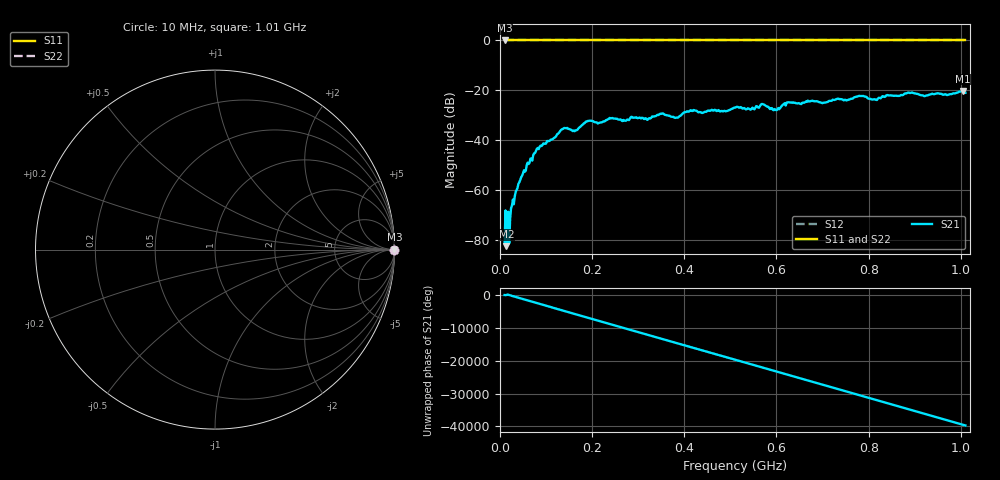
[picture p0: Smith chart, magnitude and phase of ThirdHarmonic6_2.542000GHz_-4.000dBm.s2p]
! 8/17/2025 5:08:17 AM
! C:\ANRITSUVNA\TEMP\TEMP.S2P
! CHANNEL.1
! TR.MEASUREMENT
! RAW.DATA
! RF.CORRECTION.OFF
! AVERAGING.OFF
! IF.BANDWIDTH: 5KHZ
! SWEEPTYPE:  FREQ.SWEEP(Linear)
! Reference Plane Port Info
! PORT:  PORT1  PORT2
! DISTANCE:  0  m  0  m
! TIME:  0  s  0  s
! PHASE.OFFSET:  0  deg.  0  deg.
! LOSS:  0  dB  0  dB
! REF.LOSS:  0  dB  0  dB
! REF.FREQ:  0  Hz  0  Hz
! Power Info
! POWER:  -20  dBm  -20  dBm
! EFF.POWER:  -20  dBm  -20  dBm
! SOURCE.ATTEN:  0  dB  0  dB
! TEST.ATTEN:  0  dB  0  dB
# GHZ S RI R 50.0
! FREQ.GHZ  S11RE  S11IM  S21RE  S21IM  S12RE  S12IM  S22RE  S22IM
!; PortSelection: Port_12
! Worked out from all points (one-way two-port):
!   501 points, 10 MHz to 1.01 GHz, reference 50 ohm
!   highest |S21| = -20.35 dB at 1.004 GHz (marker M1); lowest = -82.7 dB at 14 MHz (marker M2)
!   lowest |S11| = 0.0 dB at 10 MHz (marker M3)
!   |S11| at or under -10 dB: nowhere
!   |S22| runs from 0.0 to 0.0 dB; largest |S21 - S12| = 1.1
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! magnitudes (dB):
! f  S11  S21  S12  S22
! 10 MHz  0.0  -81.3  0.0  0.0
! 14 MHz  0.0  -82.7  0.0  0.0
! 18 MHz  0.0  -68.8  0.0  0.0
! 28 MHz  0.0  -63.9  0.0  0.0
! 44 MHz  0.0  -56.0  0.0  0.0
! 78 MHz  0.0  -44.4  0.0  0.0
! 136 MHz  0.0  -35.6  0.0  0.0
! 162 MHz  0.0  -36.5  0.0  0.0
! 178 MHz  0.0  -34.0  0.0  0.0
! 194 MHz  0.0  -32.2  0.0  0.0
! 344 MHz  0.0  -30.0  0.0  0.0
! 382 MHz  0.0  -31.0  0.0  0.0
! 416 MHz  0.0  -28.3  0.0  0.0
! 510 MHz  0.0  -27.0  0.0  0.0
! 548 MHz  0.0  -27.0  0.0  0.0
! 570 MHz  0.0  -25.6  0.0  0.0
! 598 MHz  0.0  -27.9  0.0  0.0
! 626 MHz  0.0  -24.8  0.0  0.0
! 678 MHz  0.0  -24.2  0.0  0.0
! 844 MHz  0.0  -22.1  0.0  0.0
! 1.004 GHz  0.0  -20.4  0.0  0.0
! 1.01 GHz  0.0  -21.0  0.0  0.0
